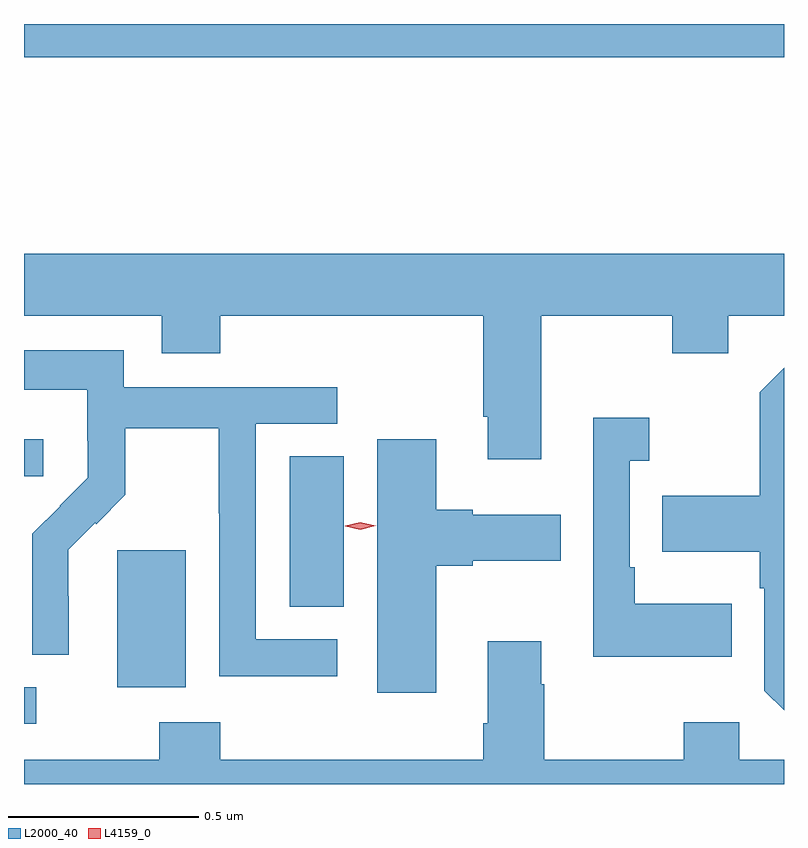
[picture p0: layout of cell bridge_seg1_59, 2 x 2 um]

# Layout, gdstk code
import gdstk
lib = gdstk.Library(unit=1e-6, precision=1e-09)
def R(c, l, rs):  # rectangles x0, y0, x1, y1
    for r in rs: c.add(gdstk.rectangle(r[:2], r[2:], *l))
def P(c, l, *ps):  # polygons
    for p in ps: c.add(gdstk.Polygon(p, *l))
L2000_40 = (2000, 40)
L4159_0 = (4159, 0)

bridge_seg1_59 = lib.new_cell('bridge_seg1_59')
R(bridge_seg1_59, L2000_40, [(497.432,505.371,497.464,505.467), (497.678,505.466,497.857,505.827), (498.131,505.678,498.274,506.075), (497.432,506.022,497.482,506.119), (497.432,507.124,499.432,507.212)])
P(bridge_seg1_59, L2000_40, [(498.793,506.444),(499.138,506.444),(499.138,506.345),(499.285,506.345),(499.285,506.444),(499.432,506.444),(499.432,506.608),(497.432,506.608),(497.432,506.444),(497.795,506.444),(497.795,506.345),(497.948,506.345),(497.948,506.444),(498.641,506.444),(498.641,506.179),(498.653,506.179),(498.653,506.067),(498.793,506.067)],
  [(498.256,505.593),(498.042,505.593),(498.042,506.16),(498.256,506.16),(498.256,506.256),(497.694,506.256),(497.694,506.353),(497.432,506.353),(497.432,506.249),(497.598,506.249),(497.598,506.115),(497.6,506.115),(497.6,506.018),(497.526,505.944),(497.527,505.943),(497.454,505.87),(497.454,505.552),(497.55,505.552),(497.55,505.706),(497.549,505.706),(497.549,505.829),(497.619,505.899),(497.622,505.896),(497.699,505.973),(497.699,506.148),(497.944,506.148),(497.944,505.924),(497.946,505.924),(497.946,505.495),(498.256,505.495)],
  [(499.432,506.308),(499.368,506.243),(499.368,505.971),(499.111,505.971),(499.111,505.823),(499.368,505.823),(499.368,505.727),(499.38,505.727),(499.38,505.458),(499.432,505.406)],
  [(499.295,505.687),(499.039,505.687),(499.039,505.783),(499.026,505.783),(499.026,506.063),(499.078,506.063),(499.078,506.176),(498.93,506.176),(498.93,505.547),(499.295,505.547)],
  [(498.517,505.787),(498.613,505.787),(498.613,505.799),(498.844,505.799),(498.844,505.921),(498.613,505.921),(498.613,505.934),(498.517,505.934),(498.517,506.119),(498.362,506.119),(498.362,505.452),(498.517,505.452)],
  [(499.432,505.276),(499.314,505.276),(499.314,505.375),(499.168,505.375),(499.168,505.276),(498.801,505.276),(498.801,505.475),(498.793,505.475),(498.793,505.588),(498.653,505.588),(498.653,505.372),(498.641,505.372),(498.641,505.276),(497.948,505.276),(497.948,505.375),(497.788,505.375),(497.788,505.276),(497.432,505.276),(497.432,505.212),(499.432,505.212)])
P(bridge_seg1_59, L4159_0, [(498.317,505.881),(498.277,505.89),(498.277,505.89),(498.277,505.891),(498.317,505.901),(498.357,505.892),(498.357,505.892),(498.357,505.892)])

lib.write_gds('bridge_seg1_59.gds')
